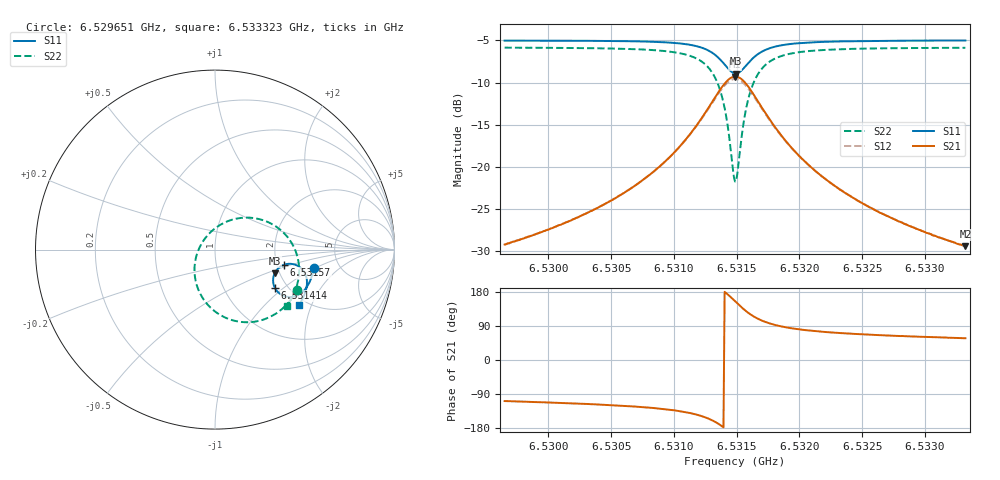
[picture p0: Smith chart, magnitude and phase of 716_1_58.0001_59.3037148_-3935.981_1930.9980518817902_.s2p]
#  HZ  S  RI  R  50.00
! Rohde & Schwarz Vector Network Analyzer
! Rohde-Schwarz,ZNB20-2Port,1311601062101988,3.16
! Created: UTC 3/21/2024, 1:22:22 AM
! freq[Hz]  re:S11  im:S11  re:S21  im:S21  re:S12  im:S12  re:S22  im:S22
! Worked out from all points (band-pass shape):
!   401 points, 6.529651 GHz to 6.533323 GHz, reference 50 ohm
!   highest |S21| = -9.29 dB at 6.531487 GHz (marker M1); lowest = -29.4 dB at 6.533323 GHz (marker M2)
!   |S21| within 3 dB of the highest: 6.531305 GHz to 6.531672 GHz (367.3 kHz wide, 0.00562 % of centre)
!   lowest |S11| = -8.9 dB at 6.531496 GHz (marker M3), VSWR 2.11, Z = 94.1 - j28.6 ohm
!   |S11| at or under -10 dB: nowhere
!   |S22| runs from -21.7 to -5.9 dB; largest |S21 - S12| = 0.014
!   S11 on the Smith chart (normalised r, x): 6.529651 GHz: 3.23, -0.97; 6.531414 GHz: 1.72, -0.88; 6.53157 GHz: 2.20, -0.44; 6.533323 GHz: 1.82, -1.64
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6.5296506e9  0.5506 -0.1033  -0.0109 -0.0329  -0.0117 -0.0327  0.4577 -0.2227
6.5302658e9  0.5369 -0.1555  -0.0222 -0.0465  -0.0235 -0.0461  0.4207 -0.281
6.5305964e9  0.5238 -0.1872  -0.0357 -0.0598  -0.0374 -0.0589  0.3851 -0.3207
6.530881e9  0.504 -0.2195  -0.0615 -0.0785  -0.0639 -0.0767  0.3272 -0.3641
6.5310922e9  0.4733 -0.2477  -0.1067 -0.0977  -0.1097 -0.0937  0.2367 -0.3989
6.5312575e9  0.4205 -0.2644  -0.1891 -0.0993  -0.1908 -0.0909  0.0876 -0.3905
6.5313493e9  0.37 -0.2516  -0.2665 -0.0606  -0.2636 -0.0491  -0.0383 -0.3096
6.531386e9  0.3481 -0.2339  -0.2985 -0.0239  -0.2921 -0.0124  -0.0845 -0.2417
6.5314136e9  0.3341 -0.2141  -0.3172 0.0141  -0.3079 0.0247  -0.1078 -0.175
6.5314687e9  0.3242 -0.1607  -0.3226 0.1105  -0.3094 0.1154  -0.0978 -0.0162
6.531487e9  0.3285 -0.1416  -0.3117 0.1434  -0.2982 0.1461  -0.0738 0.0356
6.5314962e9  0.3323 -0.1326  -0.3038 0.159  -0.2904 0.1604  -0.0579 0.0593
6.5315146e9  0.3422 -0.1159  -0.2837 0.1873  -0.2711 0.1865  -0.0201 0.1015
6.5315697e9  0.3856 -0.0842  -0.2037 0.2393  -0.1955 0.2347  0.1199 0.1728
6.5315972e9  0.4087 -0.0792  -0.1628 0.2471  -0.1569 0.2421  0.1888 0.1782
6.5316339e9  0.4361 -0.0811  -0.1155 0.2435  -0.1117 0.2392  0.2677 0.1638
6.5317257e9  0.4809 -0.1052  -0.0396 0.2068  -0.0378 0.2044  0.3905 0.0854
6.5318635e9  0.5064 -0.145  0.00502 0.1508  0.00615 0.15  0.455 -0.0251
6.5321022e9  0.5123 -0.1925  0.0221 0.0958  0.0234 0.0954  0.4681 -0.1375
6.5323685e9  0.5063 -0.2272  0.0236 0.0657  0.0246 0.0654  0.4557 -0.2043
6.5327174e9  0.4939 -0.2613  0.0217 0.0456  0.0227 0.0453  0.4346 -0.2569
6.5333234e9  0.4694 -0.3082  0.0183 0.0286  0.0188 0.0283  0.3992 -0.3144
